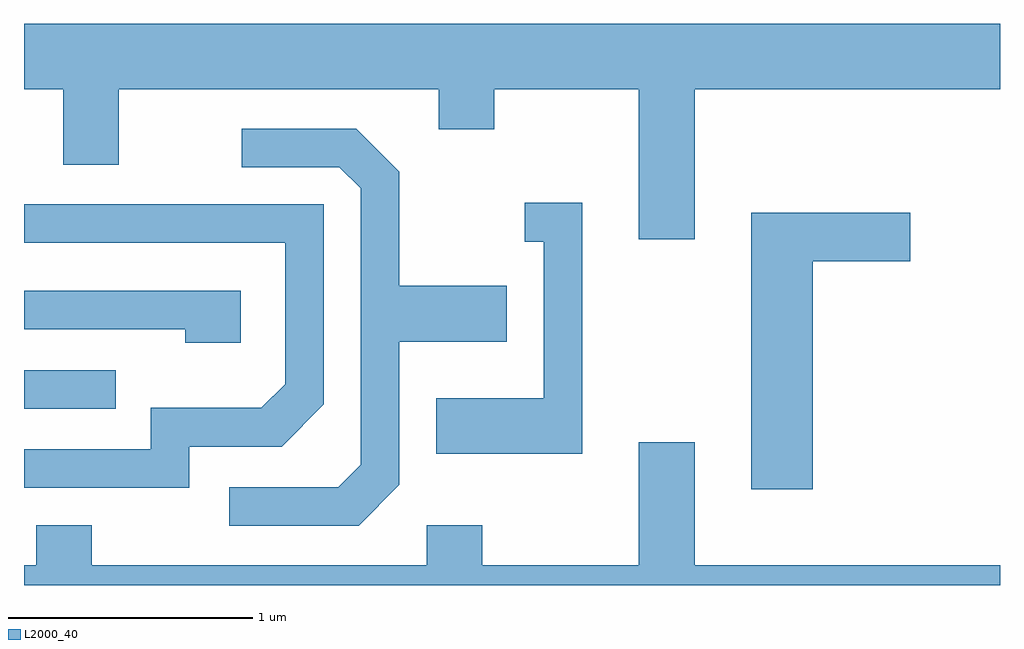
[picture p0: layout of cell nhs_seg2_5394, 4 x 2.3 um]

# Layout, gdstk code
import gdstk
lib = gdstk.Library(unit=1e-6, precision=1e-09)
def R(c, l, rs):  # rectangles x0, y0, x1, y1
    for r in rs: c.add(gdstk.rectangle(r[:2], r[2:], *l))
def P(c, l, *ps):  # polygons
    for p in ps: c.add(gdstk.Polygon(p, *l))
L2000_40 = (2000, 40)

nhs_seg2_5394 = lib.new_cell('nhs_seg2_5394')
R(nhs_seg2_5394, L2000_40, [(343.611,1082.526,343.988,1082.684)])
P(nhs_seg2_5394, L2000_40, [(346.359,1083.836),(347.611,1083.836),(347.611,1084.104),(343.611,1084.104),(343.611,1083.836),(343.771,1083.836),(343.771,1083.526),(343.999,1083.526),(343.999,1083.836),(345.311,1083.836),(345.311,1083.671),(345.539,1083.671),(345.539,1083.836),(346.131,1083.836),(346.131,1083.221),(346.359,1083.221)],
  [(345.149,1082.214),(345.149,1082.801),(345.589,1082.801),(345.589,1083.029),(345.149,1083.029),(345.149,1083.497),(344.972,1083.674),(344.503,1083.674),(344.503,1083.516),(344.904,1083.516),(344.991,1083.429),(344.991,1082.297),(344.899,1082.204),(344.453,1082.204),(344.453,1082.046),(344.982,1082.046)],
  [(345.899,1083.369),(345.663,1083.369),(345.663,1083.211),(345.741,1083.211),(345.741,1082.569),(345.301,1082.569),(345.301,1082.341),(345.899,1082.341)],
  [(344.289,1082.371),(344.667,1082.371),(344.839,1082.544),(344.839,1083.364),(343.611,1083.364),(343.611,1083.206),(344.681,1083.206),(344.681,1082.627),(344.584,1082.529),(344.131,1082.529),(344.131,1082.359),(343.611,1082.359),(343.611,1082.201),(344.289,1082.201)],
  [(346.844,1083.131),(347.244,1083.131),(347.244,1083.329),(346.591,1083.329),(346.591,1082.196),(346.844,1082.196)],
  [(344.499,1083.009),(343.611,1083.009),(343.611,1082.851),(344.271,1082.851),(344.271,1082.796),(344.499,1082.796)],
  [(347.611,1081.884),(346.359,1081.884),(346.359,1082.389),(346.131,1082.389),(346.131,1081.884),(345.489,1081.884),(345.489,1082.049),(345.261,1082.049),(345.261,1081.884),(343.889,1081.884),(343.889,1082.049),(343.661,1082.049),(343.661,1081.884),(343.611,1081.884),(343.611,1081.802),(347.611,1081.802)])

lib.write_gds('nhs_seg2_5394.gds')
